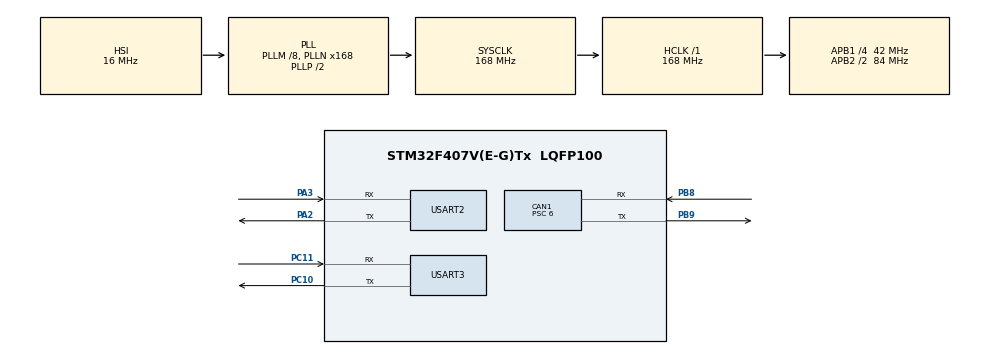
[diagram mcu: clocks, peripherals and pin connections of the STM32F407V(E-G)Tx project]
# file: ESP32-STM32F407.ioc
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CAN1.BS1=CAN_BS1_4TQ
CAN1.BS2=CAN_BS2_2TQ
CAN1.CalculateBaudRate=1000000
CAN1.CalculateTimeBit=1000
CAN1.CalculateTimeQuantum=142.85714285714286
CAN1.Prescaler=6
Mcu.Family=STM32F4
Mcu.Name=STM32F407V(E-G)Tx
Mcu.Package=LQFP100
NVIC.CAN1_RX0_IRQn=true\:0\:0\:false\:false\:true\:true\:true\:true
NVIC.PriorityGroup=NVIC_PRIORITYGROUP_4
NVIC.TIM3_IRQn=true\:0\:0\:false\:false\:true\:true\:true\:true
NVIC.TIM5_IRQn=true\:0\:0\:false\:false\:true\:true\:true\:true
NVIC.USART3_IRQn=true\:0\:0\:false\:false\:true\:true\:true\:true
PA13.Mode=Serial_Wire
PA13.Signal=SYS_JTMS-SWDIO
PA14.Mode=Serial_Wire
PA14.Signal=SYS_JTCK-SWCLK
PA2.Mode=Asynchronous
PA2.Signal=USART2_TX
PA3.Mode=Asynchronous
PA3.Signal=USART2_RX
PB8.Mode=CAN_Activate
PB8.Signal=CAN1_RX
PB9.Mode=CAN_Activate
PB9.Signal=CAN1_TX
PC10.Mode=Asynchronous
PC10.Signal=USART3_TX
PC11.Mode=Asynchronous
PC11.Signal=USART3_RX
PH0-OSC_IN.Mode=HSE-External-Oscillator
PH0-OSC_IN.Signal=RCC_OSC_IN
PH1-OSC_OUT.Mode=HSE-External-Oscillator
PH1-OSC_OUT.Signal=RCC_OSC_OUT
ProjectManager.HeapSize=0x200
ProjectManager.StackSize=0x400
ProjectManager.TargetToolchain=STM32CubeIDE
RCC.48MHZClocksFreq_Value=84000000
RCC.AHBFreq_Value=168000000
RCC.APB1CLKDivider=RCC_HCLK_DIV4
RCC.APB1Freq_Value=42000000
RCC.APB1TimFreq_Value=84000000
RCC.APB2CLKDivider=RCC_HCLK_DIV2
RCC.APB2Freq_Value=84000000
RCC.APB2TimFreq_Value=168000000
RCC.CortexFreq_Value=168000000
RCC.HCLKFreq_Value=168000000
RCC.HSE_VALUE=25000000
RCC.HSI_VALUE=16000000
RCC.LSE_VALUE=32768
RCC.PLLM=8
RCC.PLLN=168
RCC.SYSCLKFreq_VALUE=168000000
RCC.SYSCLKSource=RCC_SYSCLKSOURCE_PLLCLK
RCC.VCOOutputFreq_Value=336000000
TIM3.AutoReloadPreload=TIM_AUTORELOAD_PRELOAD_ENABLE
TIM3.Period=9999
TIM3.Prescaler=83
TIM5.Period=9999
TIM5.Prescaler=83
USART2.VirtualMode=VM_ASYNC
USART3.VirtualMode=VM_ASYNC
VP_TIM3_VS_ClockSourceINT.Mode=Internal
VP_TIM5_VS_ClockSourceINT.Mode=Internal
board=custom

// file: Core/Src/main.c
/* USER CODE BEGIN Header */
/**
  ******************************************************************************
  * @file           : main.c
  * @brief          : Main program body
  ******************************************************************************
  * @attention
  *
  * Copyright (c) 2024 STMicroelectronics.
  * All rights reserved.
  *
  * This software is licensed under terms that can be found in the LICENSE file
  * in the root directory of this software component.
  * If no LICENSE file comes with this software, it is provided AS-IS.
  *
  ******************************************************************************
  */
/* USER CODE END Header */
#include "main.h"
#include "can.h"
#include "tim.h"
#include "usart.h"
#include "gpio.h"

/* USER CODE BEGIN Includes */
#include "stdio.h"
#include "string.h"
/* USER CODE END Includes */

/* USER CODE BEGIN PTD */
CAN_RxHeaderTypeDef RxHeader;
CAN_TxHeaderTypeDef TxHeader;
/* USER CODE END PTD */

/* USER CODE BEGIN PV */
// CAN
uint8_t RxData[8];
uint8_t TxData[8];
uint32_t TxMailbox;
int datacheck = 0;
uint8_t cntt;
// UART
uint8_t RxDataESP[11] = {0};
uint8_t vx;
uint8_t vy;
uint8_t omega;
int value1;
int value2;
int value3;
float Vx;
float Vy;
float Omega;
int Speed;
int Mode;
int Position;
int Catch;
int Push;
int Drop;
int Push_manual;
int Stepper;
int Shooter;
/* USER CODE END PV */

void SystemClock_Config(void);
/* USER CODE BEGIN PFP */
float map(float Input, float Min_Input , float Max_Input ,float Min_Output, float Max_Output){

	return (float) ((Input - Min_Input) * (Max_Output - Min_Output) / (Max_Input - Min_Input) + Min_Output);
}
/* USER CODE END PFP */

int main(void)
{

  /* MCU Configuration--------------------------------------------------------*/

  /* Reset of all peripherals, Initializes the Flash interface and the Systick. */
  HAL_Init();

  /* Configure the system clock */
  SystemClock_Config();

  /* Initialize all configured peripherals */
  MX_GPIO_Init();
  MX_USART2_UART_Init();
  MX_USART3_UART_Init();
  MX_CAN1_Init();
  MX_TIM3_Init();
  MX_TIM5_Init();
  /* USER CODE BEGIN 2 */
  HAL_TIM_Base_Start_IT(&htim3);
  HAL_TIM_Base_Start_IT(&htim5);
  /*** Configure UART ***/
  HAL_UART_Receive_IT(&huart3, RxDataESP, 11);

  /*** Configure CAN ***/
	HAL_CAN_Start(&hcan1);
	HAL_CAN_ActivateNotification(&hcan1, CAN_IT_RX_FIFO0_MSG_PENDING);
	TxHeader.DLC = 8; // data length
	TxHeader.IDE = CAN_ID_STD;
	TxHeader.RTR = CAN_RTR_DATA;
	TxHeader.StdId = 0x401; //Id 0x7FF

  /* USER CODE END 2 */

  /* Infinite loop */
  while (1)
  {

  }
}

void SystemClock_Config(void)
{
  RCC_OscInitTypeDef RCC_OscInitStruct = {0};
  RCC_ClkInitTypeDef RCC_ClkInitStruct = {0};

  /** Configure the main internal regulator output voltage
  */
  __HAL_RCC_PWR_CLK_ENABLE();
  __HAL_PWR_VOLTAGESCALING_CONFIG(PWR_REGULATOR_VOLTAGE_SCALE1);

  /** Initializes the RCC Oscillators according to the specified parameters
  * in the RCC_OscInitTypeDef structure.
  */
  RCC_OscInitStruct.OscillatorType = RCC_OSCILLATORTYPE_HSI;
  RCC_OscInitStruct.HSIState = RCC_HSI_ON;
  RCC_OscInitStruct.HSICalibrationValue = RCC_HSICALIBRATION_DEFAULT;
  RCC_OscInitStruct.PLL.PLLState = RCC_PLL_ON;
  RCC_OscInitStruct.PLL.PLLSource = RCC_PLLSOURCE_HSI;
  RCC_OscInitStruct.PLL.PLLM = 8;
  RCC_OscInitStruct.PLL.PLLN = 168;
  RCC_OscInitStruct.PLL.PLLP = RCC_PLLP_DIV2;
  RCC_OscInitStruct.PLL.PLLQ = 4;
  if (HAL_RCC_OscConfig(&RCC_OscInitStruct) != HAL_OK)
  {
    Error_Handler();
  }

  /** Initializes the CPU, AHB and APB buses clocks
  */
  RCC_ClkInitStruct.ClockType = RCC_CLOCKTYPE_HCLK|RCC_CLOCKTYPE_SYSCLK
                              |RCC_CLOCKTYPE_PCLK1|RCC_CLOCKTYPE_PCLK2;
  RCC_ClkInitStruct.SYSCLKSource = RCC_SYSCLKSOURCE_PLLCLK;
  RCC_ClkInitStruct.AHBCLKDivider = RCC_SYSCLK_DIV1;
  RCC_ClkInitStruct.APB1CLKDivider = RCC_HCLK_DIV4;
  RCC_ClkInitStruct.APB2CLKDivider = RCC_HCLK_DIV2;

  if (HAL_RCC_ClockConfig(&RCC_ClkInitStruct, FLASH_LATENCY_5) != HAL_OK)
  {
    Error_Handler();
  }
}

/* USER CODE BEGIN 4 */
void HAL_UART_RxCpltCallback(UART_HandleTypeDef * huart)
{
	HAL_UART_Receive_IT(&huart3, RxDataESP, 11);

}
void HAL_TIM_PeriodElapsedCallback(TIM_HandleTypeDef *htim)
{
	if (htim->Instance == TIM3)
	{
		if (vx == 2) {
			Vx = (0.5 + (Speed / 10));
		} else if (vx == 1) {
			Vx = -(0.5 + (Speed / 10));
		} else {
			Vx = 0.0;
		}
		if (vy == 2) {
			Vy = (0.5 + (Speed / 10));
		} else if (vy == 1) {
			Vy = -(0.5 + (Speed / 10));
		} else {
			Vy = 0.0;
		}
		if (omega == 2) {
			Omega = (0.4 + (Speed/10));
		} else if (omega == 1) {
			Omega = -(0.4 + (Speed/10));
		} else {
			Omega = 0.0;
		}
		TxData[0] = map(Vx, -3.0, 3.0, 0, 255);
		TxData[1] = map(Vy, -3.0, 3.0, 0, 255);
		TxData[2] = map(Omega, -3.0, 3.0, 0, 255);
		TxData[3] = Mode;
		TxData[4] = Position;
		TxData[5] = Catch;
		TxData[6] = Push;
		TxData[7] = Drop;

		if (Position == 11)
		{
			TxData[6] = Stepper;
			TxData[7] = Shooter;
		}

		HAL_CAN_AddTxMessage(&hcan1, &TxHeader, TxData, &TxMailbox);
	}
	if (htim->Instance == TIM5)
	{
		vx = RxDataESP[0];
		vy = RxDataESP[1];
		omega = RxDataESP[2];
		Speed = RxDataESP[3];
		Mode = RxDataESP[4];
		Position = RxDataESP[5];
		Push = RxDataESP[6];
		Shooter = RxDataESP[7];
		Stepper = RxDataESP[8];
		Drop = RxDataESP[9];
		Catch = RxDataESP[10];
	}
}
/* USER CODE END 4 */

void Error_Handler(void)
{
  __disable_irq();
  while (1)
  {
  }
}
